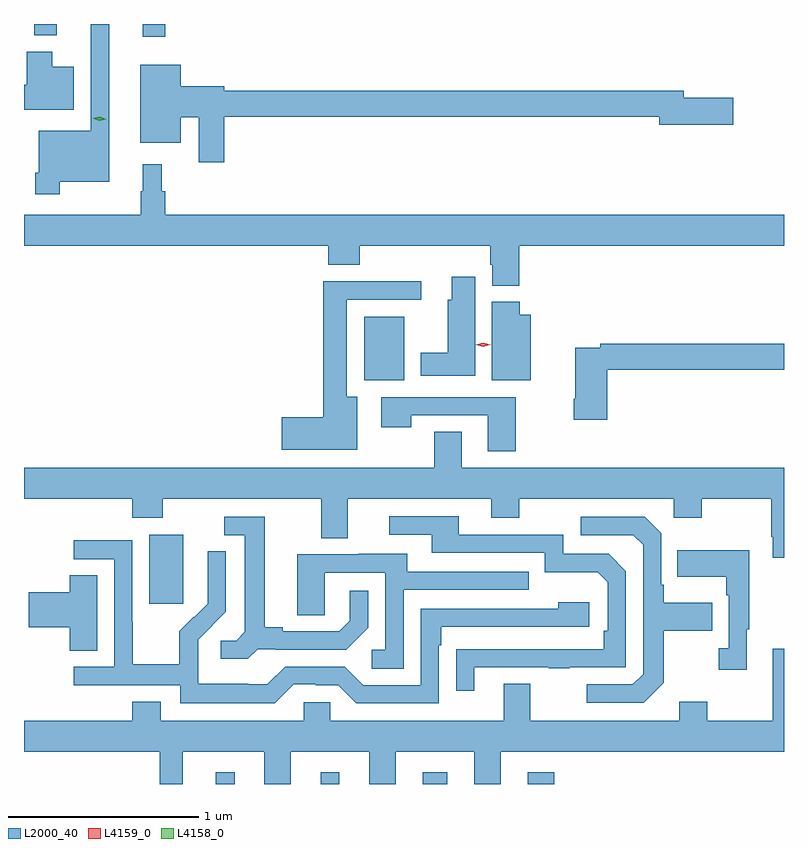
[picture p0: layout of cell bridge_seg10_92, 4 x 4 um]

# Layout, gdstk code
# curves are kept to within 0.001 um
import gdstk
lib = gdstk.Library(unit=1e-6, precision=1e-09)
def R(c, l, rs):  # rectangles x0, y0, x1, y1
    for r in rs: c.add(gdstk.rectangle(r[:2], r[2:], *l))
def P(c, l, *ps):  # polygons
    for p in ps: c.add(gdstk.Polygon(p, *l))
L2000_40 = (2000, 40)
L4158_0 = (4158, 0)
L4159_0 = (4159, 0)

bridge_seg10_92 = lib.new_cell('bridge_seg10_92')
R(bridge_seg10_92, L2000_40, [(575.042,1297.483,575.14,1297.546), (575.594,1297.483,575.692,1297.546), (576.131,1297.483,576.259,1297.546), (576.683,1297.483,576.824,1297.546), (574.691,1298.433,574.87,1298.794), (575.822,1299.608,576.034,1299.943), (574.658,1301.415,574.775,1301.483), (574.087,1301.423,574.205,1301.483)])
P(bridge_seg10_92, L2000_40, [(574.219,1300.652),(574.48,1300.652),(574.48,1301.483),(574.383,1301.483),(574.383,1300.921),(574.11,1300.921),(574.11,1300.699),(574.09,1300.699),(574.09,1300.587),(574.219,1300.587)],
  [(574.294,1301.257),(574.18,1301.257),(574.18,1301.338),(574.046,1301.338),(574.046,1301.163),(574.032,1301.163),(574.032,1301.033),(574.294,1301.033)],
  [(575.087,1300.996),(577.376,1300.996),(577.376,1300.954),(577.765,1300.954),(577.765,1301.096),(577.504,1301.096),(577.504,1301.132),(575.087,1301.132),(575.087,1301.156),(574.858,1301.156),(574.858,1301.269),(574.643,1301.269),(574.643,1300.859),(574.858,1300.859),(574.858,1300.991),(574.952,1300.991),(574.952,1300.755),(575.087,1300.755)],
  [(576.638,1300.316),(578.032,1300.316),(578.032,1300.48),(574.775,1300.48),(574.775,1300.604),(574.757,1300.604),(574.757,1300.744),(574.658,1300.744),(574.658,1300.604),(574.647,1300.604),(574.647,1300.48),(574.032,1300.48),(574.032,1300.316),(575.633,1300.316),(575.633,1300.217),(575.798,1300.217),(575.798,1300.316),(576.485,1300.316),(576.485,1300.215),(576.497,1300.215),(576.497,1300.105),(576.638,1300.105)],
  [(576.406,1300.153),(576.284,1300.153),(576.284,1300.032),(576.263,1300.032),(576.263,1299.754),(576.119,1299.754),(576.119,1299.632),(576.406,1299.632)],
  [(575.785,1299.52),(575.731,1299.52),(575.731,1300.032),(576.124,1300.032),(576.124,1300.13),(575.606,1300.13),(575.606,1299.413),(575.388,1299.413),(575.388,1299.242),(575.785,1299.242)],
  [(576.7,1299.952),(576.641,1299.952),(576.641,1300.02),(576.494,1300.02),(576.494,1299.608),(576.7,1299.608)],
  [(577.103,1299.664),(578.032,1299.664),(578.032,1299.8),(577.066,1299.8),(577.066,1299.78),(576.932,1299.78),(576.932,1299.511),(576.925,1299.511),(576.925,1299.399),(577.103,1299.399)],
  [(576.621,1299.519),(575.913,1299.519),(575.913,1299.36),(576.069,1299.36),(576.069,1299.423),(576.473,1299.423),(576.473,1299.234),(576.621,1299.234)],
  [(578.032,1299.148),(576.337,1299.148),(576.337,1299.338),(576.19,1299.338),(576.19,1299.148),(574.032,1299.148),(574.032,1298.984),(574.601,1298.984),(574.601,1298.885),(574.761,1298.885),(574.761,1298.984),(575.597,1298.984),(575.597,1298.776),(575.737,1298.776),(575.737,1298.984),(576.491,1298.984),(576.491,1298.885),(576.639,1298.885),(576.639,1298.984),(577.452,1298.984),(577.452,1298.885),(577.599,1298.885),(577.599,1298.984),(577.966,1298.984),(577.966,1298.785),(577.973,1298.785),(577.973,1298.673),(578.032,1298.673)],
  [(576.403,1298.097),(576.793,1298.097),(576.793,1298.092),(576.905,1298.092),(576.905,1298.097),(577.2,1298.097),(577.2,1298.604),(577.11,1298.694),(576.87,1298.694),(576.87,1298.796),(576.319,1298.796),(576.319,1298.892),(575.955,1298.892),(575.955,1298.796),(576.179,1298.796),(576.179,1298.7),(576.774,1298.7),(576.774,1298.597),(577.051,1298.597),(577.104,1298.544),(577.104,1298.29),(577.084,1298.29),(577.084,1298.193),(576.307,1298.192),(576.307,1297.974),(576.403,1297.974)],
  [(575.262,1298.193),(575.356,1298.193),(575.356,1298.19),(575.728,1298.19),(575.844,1298.306),(575.844,1298.5),(575.747,1298.5),(575.747,1298.343),(575.69,1298.286),(575.395,1298.286),(575.395,1298.309),(575.299,1298.309),(575.299,1298.889),(575.085,1298.889),(575.085,1298.793),(575.195,1298.793),(575.195,1298.285),(575.148,1298.238),(575.067,1298.238),(575.067,1298.141),(575.21,1298.141)],
  [(577.399,1298.017),(577.399,1298.29),(577.655,1298.29),(577.655,1298.437),(577.399,1298.437),(577.399,1298.533),(577.386,1298.533),(577.386,1298.802),(577.299,1298.889),(576.963,1298.889),(576.963,1298.793),(577.239,1298.793),(577.29,1298.742),(577.29,1298.061),(577.236,1298.007),(576.993,1298.007),(576.993,1297.911),(577.293,1297.911)],
  [(575.451,1298.007),(575.567,1298.007),(575.567,1298.004),(575.685,1298.004),(575.781,1297.908),(576.216,1297.908),(576.216,1298.213),(576.229,1298.213),(576.229,1298.31),(577.006,1298.31),(577.006,1298.44),(576.845,1298.44),(576.845,1298.406),(576.12,1298.406),(576.12,1298.004),(575.817,1298.004),(575.721,1298.1),(575.406,1298.1),(575.313,1298.007),(575.213,1298.007),(575.213,1298.011),(574.95,1298.011),(574.95,1298.145),(574.948,1298.145),(574.948,1298.242),(575.094,1298.39),(575.094,1298.708),(574.998,1298.708),(574.998,1298.554),(575,1298.554),(575,1298.432),(574.929,1298.361),(574.926,1298.364),(574.849,1298.287),(574.849,1298.113),(574.605,1298.113),(574.605,1298.336),(574.602,1298.336),(574.602,1298.766),(574.293,1298.766),(574.293,1298.667),(574.506,1298.667),(574.506,1298.1),(574.293,1298.1),(574.293,1298.004),(574.854,1298.004),(574.854,1297.907),(575.351,1297.907)],
  [(577.837,1298.297),(577.849,1298.297),(577.849,1298.713),(577.471,1298.713),(577.471,1298.573),(577.728,1298.573),(577.728,1298.477),(577.74,1298.477),(577.74,1298.198),(577.689,1298.198),(577.689,1298.085),(577.837,1298.085)],
  [(576.03,1298.505),(576.689,1298.505),(576.689,1298.601),(576.049,1298.601),(576.049,1298.695),(575.795,1298.695),(575.795,1298.691),(575.471,1298.691),(575.471,1298.371),(575.616,1298.371),(575.616,1298.595),(575.934,1298.595),(575.934,1298.19),(575.862,1298.19),(575.862,1298.089),(576.03,1298.089)],
  [(574.417,1298.582),(574.274,1298.582),(574.274,1298.492),(574.056,1298.492),(574.056,1298.309),(574.274,1298.309),(574.274,1298.185),(574.417,1298.185)],
  [(574.867,1297.652),(575.297,1297.652),(575.297,1297.483),(575.437,1297.483),(575.437,1297.652),(575.849,1297.652),(575.849,1297.483),(575.989,1297.483),(575.989,1297.652),(576.401,1297.652),(576.401,1297.483),(576.541,1297.483),(576.541,1297.652),(578.032,1297.652),(578.032,1298.194),(577.973,1298.194),(577.973,1297.816),(577.629,1297.816),(577.629,1297.915),(577.481,1297.915),(577.481,1297.816),(576.697,1297.816),(576.697,1298.011),(576.557,1298.011),(576.557,1297.816),(575.643,1297.816),(575.643,1297.914),(575.505,1297.914),(575.505,1297.816),(574.753,1297.816),(574.753,1297.915),(574.601,1297.915),(574.601,1297.816),(574.032,1297.816),(574.032,1297.652),(574.746,1297.652),(574.746,1297.483),(574.867,1297.483)])
P(bridge_seg10_92, L4158_0, [(574.429,1300.974),(574.394,1300.986),(574.394,1300.986),(574.394,1300.986),(574.43,1300.994),(574.465,1300.983),(574.465,1300.983),(574.465,1300.982)])
P(bridge_seg10_92, L4159_0, [(576.448,1299.785),(576.409,1299.795),(576.409,1299.795),(576.409,1299.796),(576.448,1299.805),(576.487,1299.796),(576.488,1299.795),(576.487,1299.795)])

lib.write_gds('bridge_seg10_92.gds')
